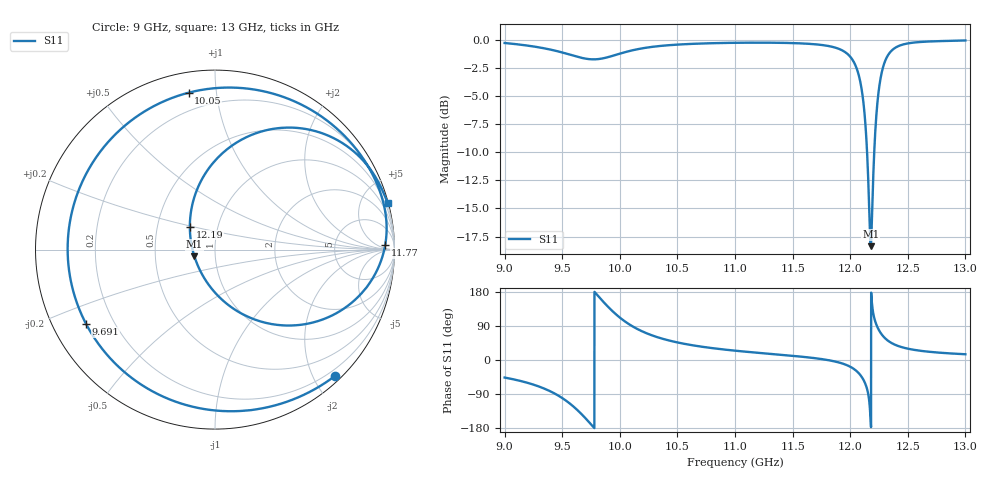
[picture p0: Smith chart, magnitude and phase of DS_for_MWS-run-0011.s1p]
! TOUCHSTONE file generated by CST DESIGN STUDIO
! Date and time: Tue Feb  4 13:53:45 2025
! Project name: C:\Work\MatlabApps\UnitCellOptimizationMatlab\CST\unitcell.cst
! Tree item: Tasks\Sweep1\SPara1\S-Parameters
! Header version: 2024
! Port assignment regex: !\s*Touchstone port\s*([0-9]+)\s*=\s*(CST MWS port|CST DES external port|CST DES block port)\s*(.+)\s* \(\"(.*)\"\)(\s*mode\s*([0-9]+))?.*
! Touchstone port assignment:
! Touchstone port 1 = CST DES external port 1 ("")
# GHz S MA R 50
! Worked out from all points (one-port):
!   4001 points, 9 GHz to 13 GHz, reference 50 ohm
!   lowest |S11| = -18.4 dB at 12.18 GHz (marker M1), VSWR 1.27, Z = 39.6 - j3.08 ohm
!   |S11| at or under -10 dB: 12.15 GHz to 12.21 GHz (61.85 MHz wide, 0.508 % of centre)
!   S11 on the Smith chart (normalised r, x): 9 GHz: 0.10, -2.34; 9.691 GHz: 0.10, -0.26; 10.05 GHz: 0.10, +0.84; 11.77 GHz: 30, +16; 12.19 GHz: 0.73, +0.19; 13 GHz: 0.10, +7.51
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9  0.971 -46.3
9.276  0.9325 -67.6
9.5  0.881 -100.3
9.599  0.8521 -123.2
9.691  0.8291 -150.1
9.761  0.8211 -173.5
9.828  0.825 163.3
9.916  0.8448 134.9
10  0.8703 112.0
10.055  0.8865 99.5
10.257  0.9297 67.6
10.5  0.9551 46.4
11  0.973 24.6
11.5  0.97 11.0
11.771  0.9487 1.6
11.911  0.9102 -7.3
12  0.8438 -17.7
12.062  0.7333 -31.0
12.114  0.5316 -51.7
12.146  0.321 -75.9
12.166  0.1696 -110.7
12.178  0.1208 -161.5
12.193  0.1896 137.7
12.23  0.4838 91.2
12.281  0.7438 64.6
12.369  0.9072 43.2
12.5  0.9667 29.9
13  0.9966 15.2
